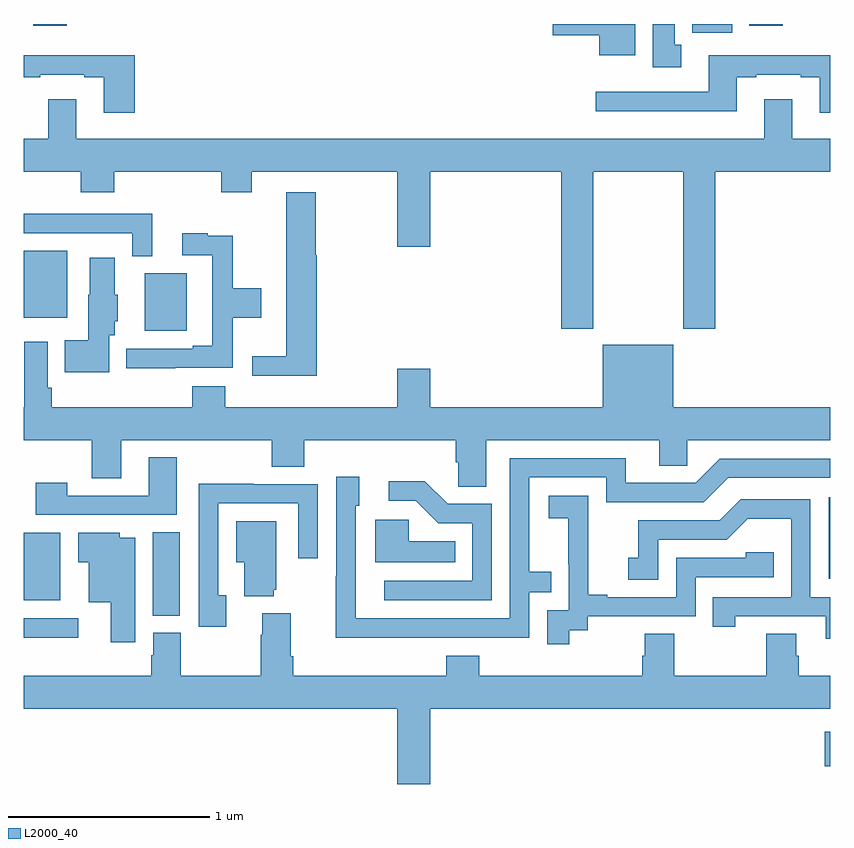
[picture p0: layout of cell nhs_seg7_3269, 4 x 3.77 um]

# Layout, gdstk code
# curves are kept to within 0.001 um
import gdstk
lib = gdstk.Library(unit=1e-6, precision=1e-09)
def R(c, l, rs):  # rectangles x0, y0, x1, y1
    for r in rs: c.add(gdstk.rectangle(r[:2], r[2:], *l))
def P(c, l, *ps):  # polygons
    for p in ps: c.add(gdstk.Polygon(p, *l))
L2000_40 = (2000, 40)

nhs_seg7_3269 = lib.new_cell('nhs_seg7_3269')
R(nhs_seg7_3269, L2000_40, [(322.974,1012.319,323,1012.489), (319,1012.955,319.27,1013.052), (319.64,1013.065,319.774,1013.48), (319,1013.141,319.18,1013.476), (322.992,1013.247,323,1013.653), (319.601,1014.479,319.807,1014.763), (319,1014.542,319.216,1014.874), (322.317,1015.956,322.513,1016), (319.046,1015.992,319.213,1016), (322.598,1015.992,322.765,1016)])
P(nhs_seg7_3269, L2000_40, [(322.261,1015.897),(322.228,1015.897),(322.228,1016),(322.121,1016),(322.121,1015.785),(322.261,1015.785)],
  [(322.033,1016),(321.624,1016),(321.624,1015.943),(321.854,1015.943),(321.854,1015.844),(322.033,1015.844)],
  [(323,1015.846),(322.397,1015.846),(322.397,1015.665),(321.837,1015.665),(321.837,1015.568),(322.537,1015.568),(322.537,1015.737),(322.633,1015.737),(322.633,1015.749),(322.853,1015.749),(322.853,1015.737),(322.949,1015.737),(322.949,1015.56),(323,1015.56)],
  [(319.55,1015.846),(319,1015.846),(319,1015.737),(319.081,1015.737),(319.081,1015.749),(319.301,1015.749),(319.301,1015.737),(319.397,1015.737),(319.397,1015.56),(319.55,1015.56)],
  [(319.261,1015.627),(319.121,1015.627),(319.121,1015.432),(319,1015.432),(319,1015.268),(319.283,1015.268),(319.283,1015.166),(319.448,1015.166),(319.448,1015.268),(319.979,1015.268),(319.979,1015.166),(320.131,1015.166),(320.131,1015.268),(320.852,1015.268),(320.852,1014.894),(321.016,1014.894),(321.016,1015.268),(321.665,1015.268),(321.665,1014.489),(321.825,1014.489),(321.825,1015.268),(322.27,1015.268),(322.27,1014.489),(322.43,1014.489),(322.43,1015.268),(323,1015.268),(323,1015.432),(322.813,1015.432),(322.813,1015.627),(322.673,1015.627),(322.673,1015.432),(319.261,1015.432)],
  [(320.453,1014.852),(320.448,1014.852),(320.448,1015.165),(320.303,1015.165),(320.303,1014.353),(320.133,1014.353),(320.133,1014.254),(320.453,1014.254)],
  [(319.636,1015.059),(319,1015.059),(319,1014.963),(319.539,1014.963),(319.539,1014.848),(319.636,1014.848)],
  [(319.751,1014.294),(320.036,1014.294),(320.036,1014.542),(320.179,1014.542),(320.179,1014.69),(320.036,1014.69),(320.036,1014.95),(319.913,1014.95),(319.913,1014.961),(319.785,1014.961),(319.785,1014.852),(319.935,1014.852),(319.935,1014.403),(319.838,1014.403),(319.838,1014.39),(319.509,1014.39),(319.509,1014.293),(319.751,1014.293)],
  [(319.423,1014.456),(319.45,1014.456),(319.45,1014.525),(319.465,1014.525),(319.465,1014.657),(319.45,1014.657),(319.45,1014.841),(319.328,1014.841),(319.328,1014.657),(319.319,1014.657),(319.319,1014.43),(319.204,1014.43),(319.204,1014.272),(319.423,1014.272)],
  [(321.295,1013.936),(322.151,1013.936),(322.151,1013.809),(322.29,1013.809),(322.29,1013.936),(323,1013.936),(323,1014.1),(322.222,1014.1),(322.222,1014.409),(321.872,1014.409),(321.872,1014.1),(321.016,1014.1),(321.016,1014.289),(320.852,1014.289),(320.852,1014.1),(320,1014.1),(320,1014.202),(319.835,1014.202),(319.835,1014.1),(319.139,1014.1),(319.139,1014.196),(319.119,1014.196),(319.119,1014.424),(319.003,1014.424),(319.003,1014.1),(319,1014.1),(319,1013.936),(319.336,1013.936),(319.336,1013.746),(319.483,1013.746),(319.483,1013.936),(320.23,1013.936),(320.23,1013.803),(320.39,1013.803),(320.39,1013.936),(321.143,1013.936),(321.143,1013.827),(321.156,1013.827),(321.156,1013.704),(321.295,1013.704)],
  [(319.759,1013.851),(319.619,1013.851),(319.619,1013.661),(319.215,1013.661),(319.215,1013.725),(319.059,1013.725),(319.059,1013.565),(319.759,1013.565)],
  [(321.011,1012.956),(321.507,1012.956),(321.507,1013.181),(321.617,1013.181),(321.617,1013.282),(321.507,1013.282),(321.507,1013.751),(321.888,1013.751),(321.888,1013.628),(322.374,1013.628),(322.494,1013.748),(323,1013.748),(323,1013.844),(322.452,1013.844),(322.332,1013.724),(321.985,1013.724),(321.985,1013.847),(321.411,1013.847),(321.411,1013.052),(320.647,1013.052),(320.646,1013.61),(320.665,1013.61),(320.665,1013.755),(320.55,1013.755),(320.55,1013.261),(320.548,1013.261),(320.548,1012.955)],
  [(321.321,1013.619),(321.102,1013.619),(320.989,1013.732),(320.811,1013.732),(320.811,1013.634),(320.945,1013.634),(321.056,1013.523),(321.225,1013.523),(321.225,1013.238),(320.787,1013.238),(320.787,1013.142),(321.321,1013.142)],
  [(320.005,1013.166),(319.965,1013.166),(319.965,1013.622),(320.361,1013.622),(320.361,1013.349),(320.457,1013.349),(320.457,1013.718),(320.141,1013.718),(320.141,1013.72),(319.869,1013.72),(319.869,1013.01),(320.005,1013.01)],
  [(321.706,1012.993),(321.798,1012.993),(321.798,1013.061),(322.332,1013.061),(322.332,1013.256),(322.721,1013.256),(322.721,1013.379),(322.581,1013.379),(322.581,1013.352),(322.236,1013.352),(322.236,1013.157),(321.895,1013.157),(321.895,1013.17),(321.8,1013.17),(321.8,1013.453),(321.801,1013.453),(321.801,1013.659),(321.603,1013.659),(321.603,1013.549),(321.701,1013.549),(321.701,1013.321),(321.702,1013.321),(321.702,1013.091),(321.597,1013.091),(321.597,1012.923),(321.706,1012.923)],
  [(323,1013.157),(322.902,1013.157),(322.902,1013.643),(322.556,1013.643),(322.451,1013.538),(322.048,1013.538),(322.048,1013.353),(321.999,1013.353),(321.999,1013.244),(322.146,1013.244),(322.146,1013.442),(322.488,1013.442),(322.592,1013.546),(322.806,1013.546),(322.806,1013.157),(322.417,1013.157),(322.417,1013.01),(322.528,1013.01),(322.528,1013.061),(322.979,1013.061),(322.979,1012.95),(323,1012.95)],
  [(321.14,1013.434),(320.91,1013.434),(320.91,1013.542),(320.744,1013.542),(320.744,1013.33),(321.14,1013.33)],
  [(320.24,1013.193),(320.251,1013.193),(320.251,1013.533),(320.054,1013.533),(320.054,1013.33),(320.093,1013.33),(320.093,1013.162),(320.24,1013.162)],
  [(319.552,1013.452),(319.476,1013.452),(319.476,1013.476),(319.271,1013.476),(319.271,1013.33),(319.322,1013.33),(319.322,1013.132),(319.43,1013.132),(319.43,1012.932),(319.552,1012.932)],
  [(321.016,1012.604),(323,1012.604),(323,1012.768),(322.844,1012.768),(322.844,1012.866),(322.831,1012.866),(322.831,1012.976),(322.684,1012.976),(322.684,1012.768),(322.227,1012.768),(322.227,1012.976),(322.079,1012.976),(322.079,1012.866),(322.067,1012.866),(322.067,1012.768),(321.26,1012.768),(321.26,1012.867),(321.095,1012.867),(321.095,1012.768),(320.336,1012.768),(320.336,1012.864),(320.323,1012.864),(320.323,1013.077),(320.183,1013.077),(320.183,1012.97),(320.176,1012.97),(320.176,1012.768),(319.779,1012.768),(319.779,1012.98),(319.643,1012.98),(319.643,1012.869),(319.631,1012.869),(319.631,1012.768),(319,1012.768),(319,1012.604),(320.852,1012.604),(320.852,1012.23),(321.016,1012.23)])

lib.write_gds('nhs_seg7_3269.gds')
